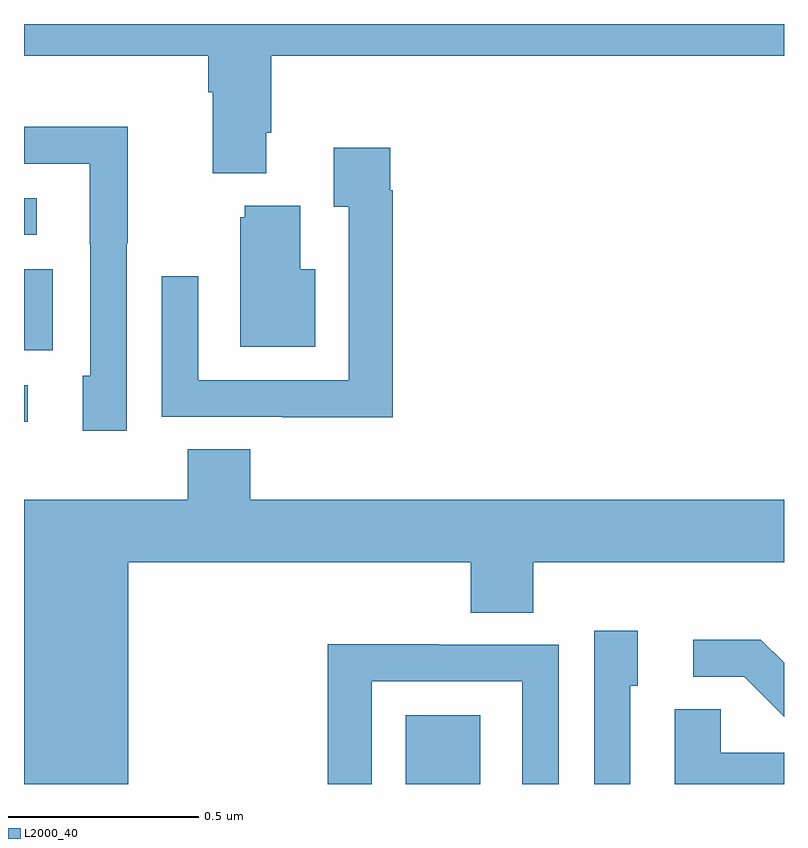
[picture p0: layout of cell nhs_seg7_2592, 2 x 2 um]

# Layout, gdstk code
import gdstk
lib = gdstk.Library(unit=1e-6, precision=1e-09)
def R(c, l, rs):  # rectangles x0, y0, x1, y1
    for r in rs: c.add(gdstk.rectangle(r[:2], r[2:], *l))
def P(c, l, *ps):  # polygons
    for p in ps: c.add(gdstk.Polygon(p, *l))
L2000_40 = (2000, 40)

nhs_seg7_2592 = lib.new_cell('nhs_seg7_2592')
R(nhs_seg7_2592, L2000_40, [(148.004,1032,148.201,1032.181), (147,1032.953,147.01,1033.05), (147,1033.142,147.076,1033.354), (147,1033.446,147.034,1033.542)])
P(nhs_seg7_2592, L2000_40, [(147.637,1033.714),(147.65,1033.714),(147.65,1033.916),(149,1033.916),(149,1034),(147,1034),(147,1033.916),(147.485,1033.916),(147.485,1033.82),(147.497,1033.82),(147.497,1033.607),(147.637,1033.607)],
  [(147.27,1033.423),(147.273,1033.423),(147.273,1033.73),(147,1033.73),(147,1033.632),(147.173,1033.632),(147.173,1033.42),(147.174,1033.42),(147.174,1033.074),(147.155,1033.074),(147.155,1032.93),(147.27,1032.93)],
  [(147.971,1033.562),(147.964,1033.562),(147.964,1033.675),(147.815,1033.675),(147.815,1033.519),(147.855,1033.519),(147.855,1033.062),(147.459,1033.062),(147.459,1033.336),(147.363,1033.336),(147.363,1032.966),(147.679,1032.966),(147.679,1032.965),(147.971,1032.965)],
  [(147.766,1033.354),(147.727,1033.354),(147.727,1033.522),(147.581,1033.522),(147.581,1033.491),(147.569,1033.491),(147.569,1033.151),(147.766,1033.151)],
  [(147.274,1032.584),(148.175,1032.584),(148.175,1032.451),(148.34,1032.451),(148.34,1032.584),(149,1032.584),(149,1032.748),(147.596,1032.748),(147.596,1032.881),(147.431,1032.881),(147.431,1032.748),(147,1032.748),(147,1032),(147.274,1032)],
  [(148.596,1032.258),(148.615,1032.258),(148.615,1032.403),(148.5,1032.403),(148.5,1032),(148.596,1032)],
  [(149,1032.319),(148.939,1032.38),(148.761,1032.38),(148.761,1032.282),(148.895,1032.282),(149,1032.177)],
  [(147.915,1032.27),(148.311,1032.27),(148.311,1032),(148.407,1032),(148.407,1032.366),(148.091,1032.366),(148.091,1032.368),(147.799,1032.368),(147.799,1032),(147.915,1032)],
  [(149,1032.082),(148.833,1032.082),(148.833,1032.197),(148.712,1032.197),(148.712,1032),(149,1032)])

lib.write_gds('nhs_seg7_2592.gds')
